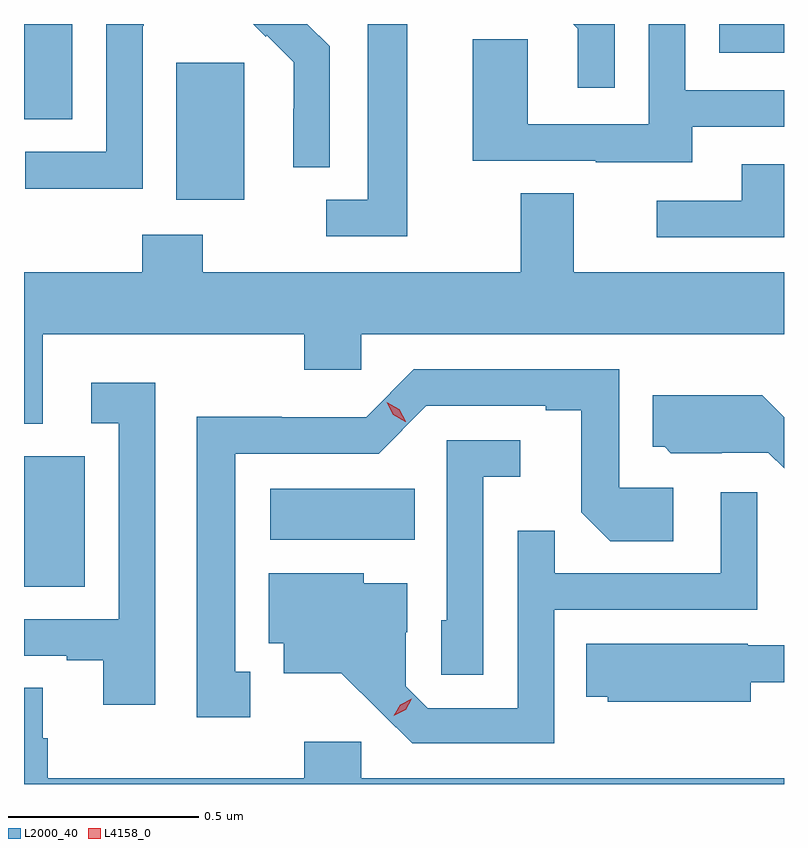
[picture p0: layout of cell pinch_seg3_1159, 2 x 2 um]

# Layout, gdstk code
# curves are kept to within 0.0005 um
import gdstk
lib = gdstk.Library(unit=1e-6, precision=1e-09)
def R(c, l, rs):  # rectangles x0, y0, x1, y1
    for r in rs: c.add(gdstk.rectangle(r[:2], r[2:], *l))
def P(c, l, *ps):  # polygons
    for p in ps: c.add(gdstk.Polygon(p, *l))
L2000_40 = (2000, 40)
L4158_0 = (4158, 0)

pinch_seg3_1159 = lib.new_cell('pinch_seg3_1159')
R(pinch_seg3_1159, L2000_40, [(323.208,720.232,323.368,720.576), (323.856,720.356,324.236,720.49), (323.609,721.25,323.788,721.611), (323.208,721.462,323.335,721.713), (325.038,721.638,325.208,721.713)])
P(pinch_seg3_1159, L2000_40, [(324.967,721.443),(325.208,721.443),(325.208,721.539),(324.948,721.539),(324.948,721.713),(324.852,721.713),(324.852,721.449),(324.534,721.449),(324.534,721.673),(324.389,721.673),(324.389,721.353),(324.713,721.353),(324.713,721.349),(324.967,721.349)],
  [(324.217,721.713),(324.113,721.713),(324.113,721.251),(324.003,721.251),(324.003,721.155),(324.217,721.155)],
  [(324.762,721.713),(324.653,721.713),(324.665,721.701),(324.665,721.545),(324.762,721.545)],
  [(323.52,721.708),(323.523,721.708),(323.523,721.713),(323.424,721.713),(323.424,721.377),(323.211,721.377),(323.211,721.279),(323.52,721.279)],
  [(324.012,721.654),(323.953,721.713),(323.811,721.713),(323.844,721.68),(323.847,721.683),(323.918,721.613),(323.918,721.49),(323.916,721.49),(323.916,721.336),(324.012,721.336)],
  [(325.208,721.344),(325.097,721.344),(325.097,721.248),(324.873,721.248),(324.873,721.152),(325.208,721.152)],
  [(323.257,720.896),(323.945,720.896),(323.945,720.803),(324.096,720.803),(324.096,720.896),(325.208,720.896),(325.208,721.06),(324.655,721.06),(324.655,721.268),(324.515,721.268),(324.515,721.06),(323.679,721.06),(323.679,721.159),(323.519,721.159),(323.519,721.06),(323.208,721.06),(323.208,720.661),(323.257,720.661)],
  [(323.803,720.009),(323.764,720.009),(323.764,720.582),(324.141,720.582),(324.267,720.708),(324.581,720.708),(324.581,720.696),(324.675,720.696),(324.675,720.428),(324.751,720.352),(324.916,720.352),(324.916,720.492),(324.774,720.492),(324.774,720.804),(324.234,720.804),(324.108,720.678),(323.886,720.678),(323.886,720.68),(323.663,720.68),(323.663,719.889),(323.803,719.889)],
  [(323.553,720.769),(323.385,720.769),(323.385,720.663),(323.457,720.663),(323.457,720.147),(323.208,720.147),(323.208,720.051),(323.321,720.051),(323.321,720.039),(323.417,720.039),(323.417,719.922),(323.553,719.922)],
  [(325.208,720.678),(325.151,720.736),(324.863,720.736),(324.863,720.6),(324.894,720.6),(324.91,720.584),(325.044,720.584),(325.044,720.585),(325.167,720.585),(325.208,720.544)],
  [(324.417,720.521),(324.514,720.521),(324.514,720.618),(324.321,720.618),(324.321,720.144),(324.306,720.144),(324.306,720.001),(324.417,720.001)],
  [(324.603,720.171),(325.137,720.171),(325.137,720.481),(325.041,720.481),(325.041,720.267),(324.605,720.267),(324.605,720.38),(324.507,720.38),(324.507,719.913),(324.27,719.913),(324.213,719.97),(324.213,720.112),(324.217,720.112),(324.217,720.241),(324.102,720.241),(324.102,720.268),(323.852,720.268),(323.852,720.084),(323.891,720.084),(323.891,720.005),(324.043,720.005),(324.23,719.82),(324.603,719.82)],
  [(325.12,719.981),(325.208,719.981),(325.208,720.078),(325.112,720.078),(325.112,720.082),(324.688,720.082),(324.688,719.942),(324.744,719.942),(324.744,719.93),(325.12,719.93)],
  [(325.208,719.728),(324.096,719.728),(324.096,719.824),(323.945,719.824),(323.945,719.728),(323.27,719.728),(323.27,719.834),(323.257,719.834),(323.257,719.966),(323.208,719.966),(323.208,719.713),(325.208,719.713)])
P(pinch_seg3_1159, L4158_0, [(324.181,719.892),(324.181,719.893),(324.198,719.922),(324.228,719.938),(324.228,719.938),(324.228,719.938),(324.212,719.908),(324.181,719.892)],
  [(324.211,720.666),(324.18,720.685),(324.163,720.718),(324.163,720.718),(324.163,720.718),(324.195,720.699),(324.212,720.667),(324.212,720.666)])

lib.write_gds('pinch_seg3_1159.gds')
